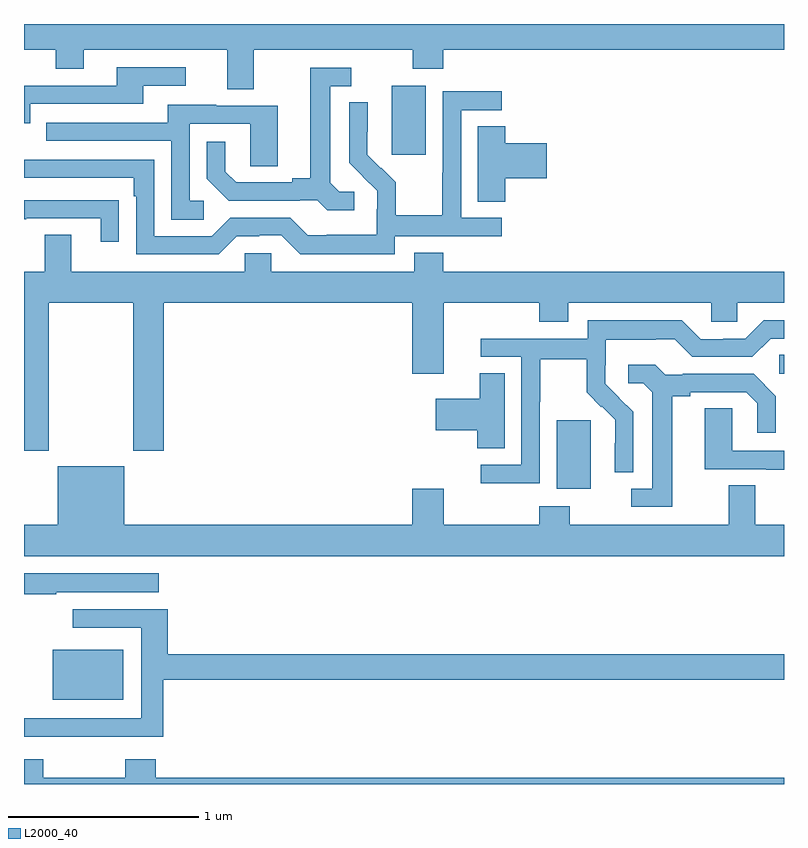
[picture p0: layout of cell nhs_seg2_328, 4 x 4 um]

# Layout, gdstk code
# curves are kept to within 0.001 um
import gdstk
lib = gdstk.Library(unit=1e-6, precision=1e-09)
def R(c, l, rs):  # rectangles x0, y0, x1, y1
    for r in rs: c.add(gdstk.rectangle(r[:2], r[2:], *l))
def P(c, l, *ps):  # polygons
    for p in ps: c.add(gdstk.Polygon(p, *l))
L2000_40 = (2000, 40)

nhs_seg2_328 = lib.new_cell('nhs_seg2_328')
R(nhs_seg2_328, L2000_40, [(127.151,616.244,127.522,616.507), (129.803,617.354,129.982,617.715), (130.974,617.958,131,618.059), (128.936,619.113,129.115,619.474)])
P(nhs_seg2_328, L2000_40, [(129.046,619.565),(129.206,619.565),(129.206,619.664),(131,619.664),(131,619.8),(127,619.8),(127,619.664),(127.168,619.664),(127.168,619.565),(127.315,619.565),(127.315,619.664),(128.069,619.664),(128.069,619.456),(128.209,619.456),(128.209,619.664),(129.046,619.664)],
  [(127.032,619.38),(127.627,619.38),(127.627,619.476),(127.852,619.476),(127.852,619.572),(127.487,619.572),(127.487,619.476),(127,619.476),(127,619.277),(127.032,619.277)],
  [(128.739,618.918),(128.658,618.918),(128.611,618.965),(128.611,619.473),(128.722,619.473),(128.722,619.569),(128.507,619.569),(128.507,618.989),(128.411,618.989),(128.411,618.966),(128.116,618.966),(128.059,619.023),(128.059,619.18),(127.962,619.18),(127.962,618.986),(128.078,618.87),(128.45,618.87),(128.45,618.873),(128.544,618.873),(128.596,618.821),(128.739,618.821)],
  [(128.952,618.684),(129.514,618.684),(129.514,618.78),(129.3,618.78),(129.3,619.347),(129.514,619.347),(129.514,619.446),(129.204,619.446),(129.204,619.016),(129.202,619.016),(129.202,618.793),(128.957,618.793),(128.957,618.967),(128.88,619.044),(128.877,619.041),(128.807,619.112),(128.808,619.388),(128.712,619.388),(128.712,619.07),(128.858,618.922),(128.858,618.825),(128.856,618.825),(128.856,618.691),(128.593,618.691),(128.593,618.687),(128.493,618.687),(128.4,618.78),(128.085,618.78),(127.989,618.684),(127.686,618.684),(127.686,619.086),(127,619.086),(127,618.99),(127.577,618.99),(127.577,618.893),(127.59,618.893),(127.59,618.588),(128.025,618.588),(128.121,618.684),(128.239,618.684),(128.239,618.687),(128.355,618.687),(128.455,618.587),(128.952,618.587)],
  [(127.945,618.87),(127.872,618.87),(127.872,619.275),(128.19,619.275),(128.19,619.051),(128.335,619.051),(128.335,619.371),(128.011,619.371),(128.011,619.375),(127.757,619.375),(127.757,619.281),(127.117,619.281),(127.117,619.185),(127.776,619.185),(127.776,618.769),(127.945,618.769)],
  [(129.533,618.989),(129.751,618.989),(129.751,619.172),(129.533,619.172),(129.533,619.262),(129.389,619.262),(129.389,618.865),(129.533,618.865)],
  [(127.499,618.872),(127.397,618.872),(127.397,618.873),(127,618.873),(127,618.772),(127.013,618.772),(127.013,618.777),(127.403,618.777),(127.403,618.654),(127.499,618.654)],
  [(129.206,618.595),(129.053,618.595),(129.053,618.496),(128.301,618.496),(128.301,618.594),(128.163,618.594),(128.163,618.496),(127.249,618.496),(127.249,618.691),(127.109,618.691),(127.109,618.496),(127,618.496),(127,617.553),(127.131,617.553),(127.131,618.332),(127.576,618.332),(127.576,617.553),(127.736,617.553),(127.736,618.332),(129.044,618.332),(129.044,617.958),(129.208,617.958),(129.208,618.332),(129.713,618.332),(129.713,618.233),(129.865,618.233),(129.865,618.332),(130.617,618.332),(130.617,618.234),(130.755,618.234),(130.755,618.332),(131,618.332),(131,618.496),(129.206,618.496)],
  [(129.714,617.812),(129.717,617.812),(129.717,618.036),(129.961,618.036),(129.961,617.861),(130.038,617.784),(130.041,617.787),(130.112,617.717),(130.112,617.594),(130.11,617.594),(130.11,617.44),(130.206,617.44),(130.206,617.758),(130.06,617.906),(130.06,618.003),(130.062,618.003),(130.062,618.137),(130.325,618.137),(130.325,618.141),(130.425,618.141),(130.518,618.048),(130.833,618.048),(130.929,618.144),(131,618.144),(131,618.24),(130.893,618.24),(130.797,618.144),(130.679,618.144),(130.679,618.141),(130.563,618.141),(130.463,618.241),(129.966,618.241),(129.966,618.144),(129.405,618.144),(129.405,618.048),(129.618,618.048),(129.618,617.481),(129.405,617.481),(129.405,617.383),(129.714,617.383)],
  [(130.411,617.84),(130.507,617.84),(130.507,617.862),(130.802,617.862),(130.859,617.805),(130.859,617.649),(130.956,617.649),(130.956,617.842),(130.84,617.958),(130.468,617.958),(130.468,617.955),(130.374,617.955),(130.322,618.007),(130.179,618.007),(130.179,617.91),(130.26,617.91),(130.307,617.863),(130.307,617.355),(130.197,617.355),(130.197,617.259),(130.411,617.259)],
  [(129.529,617.963),(129.398,617.963),(129.398,617.827),(129.168,617.827),(129.168,617.662),(129.386,617.662),(129.386,617.566),(129.529,617.566)],
  [(131,617.553),(130.728,617.553),(130.728,617.777),(130.583,617.777),(130.583,617.457),(130.907,617.457),(130.907,617.453),(131,617.453)],
  [(131,617.164),(130.849,617.164),(130.849,617.372),(130.709,617.372),(130.709,617.164),(129.873,617.164),(129.873,617.263),(129.713,617.263),(129.713,617.164),(129.208,617.164),(129.208,617.353),(129.044,617.353),(129.044,617.164),(127.528,617.164),(127.528,617.473),(127.178,617.473),(127.178,617.164),(127,617.164),(127,617),(131,617)],
  [(127.169,616.808),(127.708,616.808),(127.708,616.909),(127,616.909),(127,616.798),(127.169,616.798)],
  [(127.445,616.05),(127.733,616.05),(127.733,616.348),(131,616.348),(131,616.484),(127.757,616.484),(127.757,616.719),(127.257,616.719),(127.257,616.623),(127.617,616.623),(127.617,616.146),(127,616.146),(127,616.05),(127.189,616.05),(127.189,616.049),(127.445,616.049)],
  [(131,615.832),(127.694,615.832),(127.694,615.931),(127.534,615.931),(127.534,615.832),(127.101,615.832),(127.101,615.931),(127,615.931),(127,615.8),(131,615.8)])

lib.write_gds('nhs_seg2_328.gds')
